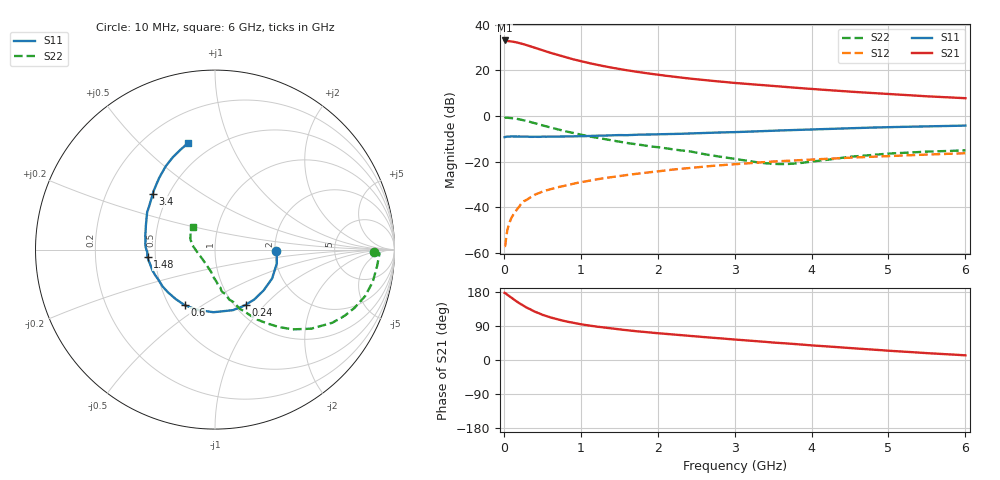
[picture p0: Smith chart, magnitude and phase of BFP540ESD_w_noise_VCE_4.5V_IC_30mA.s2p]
! Infineon Technologies  Discrete & RF Semiconductors
! BFP540ESD
! VCE =  4.5 V,  IC =  30 mA
! Common Emitter S-Parameters:  Nov 2015
# GHz  S  MA  R  50
!  f  S11  S21  S12  S22
! GHz  MAG  ANG  MAG  ANG  MAG  ANG  MAG  ANG
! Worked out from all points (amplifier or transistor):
!   210 points, 10 MHz to 6 GHz, reference 50 ohm
!   highest |S21| = 33.0 dB at 10 MHz (marker M1)
!   |S21| within 3 dB of that: start of sweep to 385.2 MHz
!   unconditionally stable (mu >= 1): start of sweep to 29.69 MHz; 1.858 GHz to end of sweep
!   at 185 MHz: K = 0.39, MSG = 36.2 dB, |S12| = -40.4 dB
!   at 1.52 GHz: K = 0.95, MSG = 23.4 dB, |S12| = -26.3 dB
!   at 6 GHz: K = 1.10, MAG = 10.1 dB, |S12| = -16.4 dB
!   lowest NFmin = 1.41 dB at 900 MHz
!   S11 on the Smith chart (normalised r, x): 10 MHz: 2.04, -0.02; 240 MHz: 1.12, -0.79; 600 MHz: 0.60, -0.42; 1.48 GHz: 0.45, -0.04; 3.4 GHz: 0.41, +0.33; 6 GHz: 0.37, +0.71
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0.01  0.3412 -0.9  44.79 177.2  0.0014 41.5  0.8879 -0.7
0.02  0.3455 -4.8  43.94 176.2  0.0015 50.5  0.9168 -1.3
0.05  0.3529 -12.7  43.72 171.5  0.0034 58.9  0.9095 -5.2
0.1  0.3566 -26.8  42.67 164.1  0.0059 69.1  0.8972 -11.5
0.15  0.3537 -40.1  41.29 156.8  0.008 69.9  0.8758 -17.2
0.2  0.3538 -51.9  39.44 150.0  0.0103 70.7  0.843 -22.6
0.24  0.3518 -60.9  37.77 145.0  0.0126 68.7  0.814 -26.6
0.3  0.3519 -73.6  35.34 137.9  0.0146 65.4  0.7695 -32.0
0.4  0.349 -91.4  31.15 127.8  0.0186 64.4  0.6938 -39.4
0.5  0.3504 -106.7  27.52 119.4  0.0219 64.0  0.6211 -45.7
0.6  0.3526 -118.8  24.2 112.6  0.0247 61.7  0.5584 -50.5
0.7  0.3519 -128.6  21.58 107.1  0.0273 62.2  0.5068 -54.5
0.8  0.354 -137.8  19.25 102.1  0.0297 61.2  0.4597 -58.5
1.02  0.3579 -152.6  15.46 93.8  0.0358 60.7  0.381 -64.7
1.2  0.3679 -162.2  13.22 88.3  0.0401 60.3  0.3337 -68.9
1.48  0.3783 -173.7  10.76 81.3  0.0473 59.7  0.2764 -75.1
2.02  0.3957 169.2  7.875 70.4  0.0614 56.6  0.2048 -84.5
3.1  0.4458 144.1  5.102 52.6  0.0896 48.3  0.1073 -110.5
3.4  0.4657 138.1  4.638 47.9  0.0974 45.5  0.0917 -127.8
4.1  0.512 126.4  3.78 37.3  0.1126 39.3  0.1039 -175.9
5.1  0.5702 113.4  2.94 23.3  0.1336 30.1  0.1519 154.5
6  0.6116 104.3  2.436 12.3  0.1518 23.4  0.1759 134.8
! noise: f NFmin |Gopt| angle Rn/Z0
0.9  1.41  0.38  -138  0.12
1.8  1.56  0.4  -142  0.12
2.4  1.58  0.41  -133  0.14
3  1.7  0.43  -126  0.17
4  1.76  0.52  -104  0.29
5  1.88  0.59  -87  0.46
6  2.22  0.57  -86  0.68
